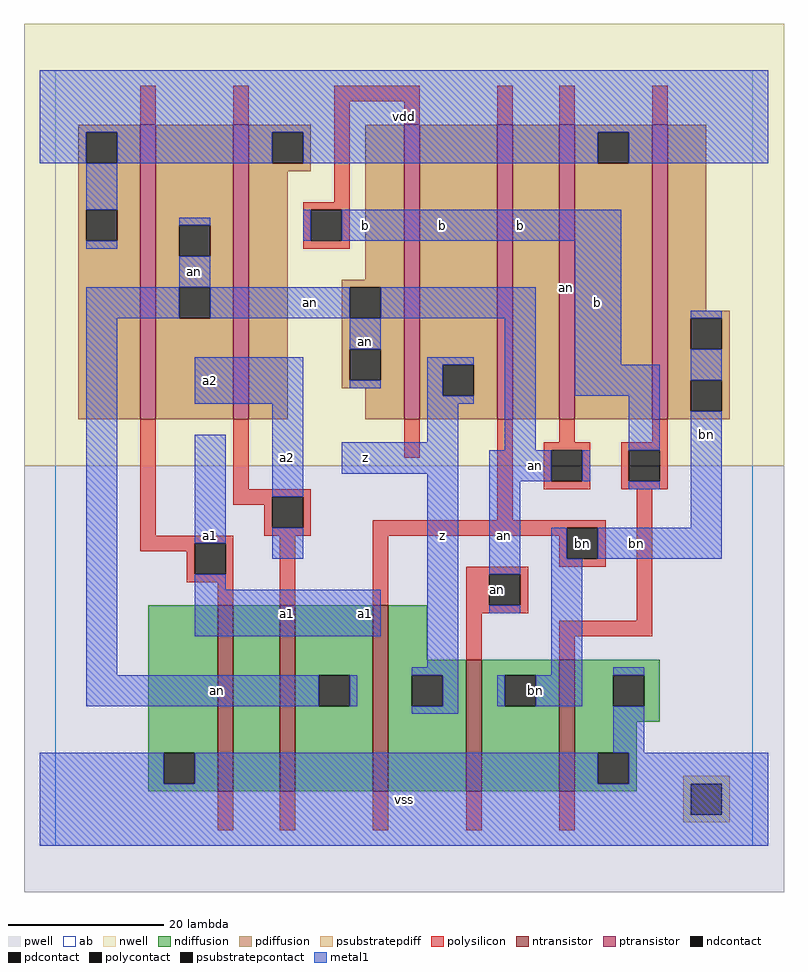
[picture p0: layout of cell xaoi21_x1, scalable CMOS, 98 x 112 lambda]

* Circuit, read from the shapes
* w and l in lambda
.subckt xaoi21_x1 a1 a2 an b bn vdd vss z
M1 n1 a1 vss vss nfet w=24 l=2
M2 an a2 n1 vss nfet w=24 l=2
M3 z bn an vss nfet w=24 l=2
M4 bn an z vss nfet w=17 l=2
M5 vss b bn vss nfet w=17 l=2
M6 an a1 vdd n2 pfet w=38 l=2
M7 vdd a2 an n2 pfet w=38 l=2
M8 z b an n2 pfet w=38 l=2
M9 n3 bn z n2 pfet w=38 l=2
M10 vdd an n3 n2 pfet w=38 l=2
M11 bn b vdd n2 pfet w=38 l=2
.ends

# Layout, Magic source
magic
tech scmos
<< ab >>
rect 0 0 90 100
<< pwell >>
rect -4 -6 94 49
<< nwell >>
rect -4 49 94 106
<< polysilicon >>
rect 11 93 13 98
rect 23 93 25 98
rect 36 96 47 98
rect 36 83 38 96
rect 45 93 47 96
rect 57 93 59 98
rect 65 93 67 98
rect 77 93 79 98
rect 32 82 38 83
rect 32 78 33 82
rect 37 78 38 82
rect 32 77 38 78
rect 11 40 13 55
rect 23 46 25 55
rect 45 50 47 55
rect 23 45 33 46
rect 23 44 28 45
rect 27 41 28 44
rect 32 41 33 45
rect 57 42 59 55
rect 65 52 67 55
rect 77 52 79 55
rect 63 51 69 52
rect 63 47 64 51
rect 68 47 69 51
rect 63 46 69 47
rect 73 51 79 52
rect 73 47 74 51
rect 78 47 79 51
rect 73 46 79 47
rect 27 40 33 41
rect 41 41 71 42
rect 41 40 66 41
rect 11 39 23 40
rect 11 38 18 39
rect 17 35 18 38
rect 22 35 23 39
rect 17 34 23 35
rect 21 31 23 34
rect 29 31 31 40
rect 41 31 43 40
rect 65 37 66 40
rect 70 37 71 41
rect 65 36 71 37
rect 53 35 61 36
rect 53 31 56 35
rect 60 31 61 35
rect 53 30 61 31
rect 53 24 55 30
rect 75 29 77 46
rect 65 27 77 29
rect 65 24 67 27
rect 21 2 23 7
rect 29 2 31 7
rect 41 2 43 7
rect 53 2 55 7
rect 65 2 67 7
<< ndiffusion >>
rect 12 12 21 31
rect 12 8 14 12
rect 18 8 21 12
rect 12 7 21 8
rect 23 7 29 31
rect 31 22 41 31
rect 31 18 34 22
rect 38 18 41 22
rect 31 7 41 18
rect 43 24 48 31
rect 43 22 53 24
rect 43 18 46 22
rect 50 18 53 22
rect 43 7 53 18
rect 55 22 65 24
rect 55 18 58 22
rect 62 18 65 22
rect 55 7 65 18
rect 67 22 78 24
rect 67 18 72 22
rect 76 18 78 22
rect 67 16 78 18
rect 67 12 75 16
rect 67 8 70 12
rect 74 8 75 12
rect 67 7 75 8
<< pdiffusion >>
rect 3 92 11 93
rect 3 88 4 92
rect 8 88 11 92
rect 3 82 11 88
rect 3 78 4 82
rect 8 78 11 82
rect 3 55 11 78
rect 13 80 23 93
rect 13 76 16 80
rect 20 76 23 80
rect 13 72 23 76
rect 13 68 16 72
rect 20 68 23 72
rect 13 55 23 68
rect 25 92 33 93
rect 25 88 28 92
rect 32 88 33 92
rect 25 87 33 88
rect 25 55 30 87
rect 40 73 45 93
rect 37 72 45 73
rect 37 68 38 72
rect 42 68 45 72
rect 37 64 45 68
rect 37 60 38 64
rect 42 60 45 64
rect 37 59 45 60
rect 40 55 45 59
rect 47 62 57 93
rect 47 58 50 62
rect 54 58 57 62
rect 47 55 57 58
rect 59 55 65 93
rect 67 92 77 93
rect 67 88 70 92
rect 74 88 77 92
rect 67 55 77 88
rect 79 69 84 93
rect 79 68 87 69
rect 79 64 82 68
rect 86 64 87 68
rect 79 60 87 64
rect 79 56 82 60
rect 86 56 87 60
rect 79 55 87 56
<< metal1 >>
rect -2 92 92 100
rect -2 88 4 92
rect 8 88 28 92
rect 32 88 70 92
rect 74 88 92 92
rect 4 82 8 88
rect 4 77 8 78
rect 16 80 20 81
rect 32 78 33 82
rect 37 78 73 82
rect 16 72 20 76
rect 4 68 16 72
rect 20 68 38 72
rect 42 68 62 72
rect 4 22 8 68
rect 38 64 42 68
rect 18 57 32 63
rect 38 59 42 60
rect 48 62 54 63
rect 18 39 22 53
rect 28 45 32 57
rect 48 58 50 62
rect 48 57 54 58
rect 48 52 52 57
rect 37 48 52 52
rect 58 51 62 68
rect 67 62 73 78
rect 82 68 86 69
rect 67 58 78 62
rect 74 51 78 58
rect 28 37 32 41
rect 18 33 22 35
rect 18 27 42 33
rect 48 23 52 48
rect 56 47 64 51
rect 68 47 69 51
rect 56 35 60 47
rect 74 46 78 47
rect 82 60 86 64
rect 82 41 86 56
rect 56 30 60 31
rect 64 37 66 41
rect 70 37 86 41
rect 46 22 52 23
rect 64 22 68 37
rect 4 18 34 22
rect 38 18 39 22
rect 50 18 52 22
rect 57 18 58 22
rect 62 18 68 22
rect 72 22 76 23
rect 46 17 52 18
rect 72 12 76 18
rect -2 8 14 12
rect 18 8 70 12
rect 74 8 92 12
rect -2 0 92 8
<< ntransistor >>
rect 21 7 23 31
rect 29 7 31 31
rect 41 7 43 31
rect 53 7 55 24
rect 65 7 67 24
<< ptransistor >>
rect 11 55 13 93
rect 23 55 25 93
rect 45 55 47 93
rect 57 55 59 93
rect 65 55 67 93
rect 77 55 79 93
<< polycontact >>
rect 33 78 37 82
rect 28 41 32 45
rect 64 47 68 51
rect 74 47 78 51
rect 18 35 22 39
rect 66 37 70 41
rect 56 31 60 35
<< ndcontact >>
rect 14 8 18 12
rect 34 18 38 22
rect 46 18 50 22
rect 58 18 62 22
rect 72 18 76 22
rect 70 8 74 12
<< pdcontact >>
rect 4 88 8 92
rect 4 78 8 82
rect 16 76 20 80
rect 16 68 20 72
rect 28 88 32 92
rect 38 68 42 72
rect 38 60 42 64
rect 50 58 54 62
rect 70 88 74 92
rect 82 64 86 68
rect 82 56 86 60
<< psubstratepcontact >>
rect 82 4 86 8
<< psubstratepdiff >>
rect 81 8 87 9
rect 81 4 82 8
rect 86 4 87 8
rect 81 3 87 4
<< labels >>
rlabel polycontact 57 33 57 33 6 an
rlabel polycontact 68 39 68 39 6 bn
rlabel ptransistor 66 72 66 72 6 an
rlabel metal1 30 30 30 30 6 a1
rlabel metal1 30 30 30 30 6 a1
rlabel metal1 20 40 20 40 6 a1
rlabel metal1 20 40 20 40 6 a1
rlabel metal1 30 50 30 50 6 a2
rlabel metal1 30 50 30 50 6 a2
rlabel metal1 20 60 20 60 6 a2
rlabel metal1 20 60 20 60 6 a2
rlabel metal1 18 74 18 74 6 an
rlabel metal1 45 6 45 6 6 vss
rlabel metal1 45 6 45 6 6 vss
rlabel metal1 21 20 21 20 6 an
rlabel metal1 40 30 40 30 6 a1
rlabel metal1 40 30 40 30 6 a1
rlabel metal1 50 40 50 40 6 z
rlabel metal1 50 40 50 40 6 z
rlabel metal1 40 50 40 50 6 z
rlabel metal1 40 50 40 50 6 z
rlabel metal1 40 65 40 65 6 an
rlabel metal1 40 80 40 80 6 b
rlabel metal1 50 80 50 80 6 b
rlabel metal1 50 80 50 80 6 b
rlabel metal1 40 80 40 80 6 b
rlabel metal1 45 94 45 94 6 vdd
rlabel metal1 45 94 45 94 6 vdd
rlabel metal1 62 20 62 20 6 bn
rlabel metal1 58 40 58 40 6 an
rlabel metal1 62 49 62 49 6 an
rlabel metal1 33 70 33 70 6 an
rlabel metal1 70 70 70 70 6 b
rlabel metal1 70 70 70 70 6 b
rlabel metal1 60 80 60 80 6 b
rlabel metal1 60 80 60 80 6 b
rlabel metal1 75 39 75 39 6 bn
rlabel metal1 84 53 84 53 6 bn
<< end >>
